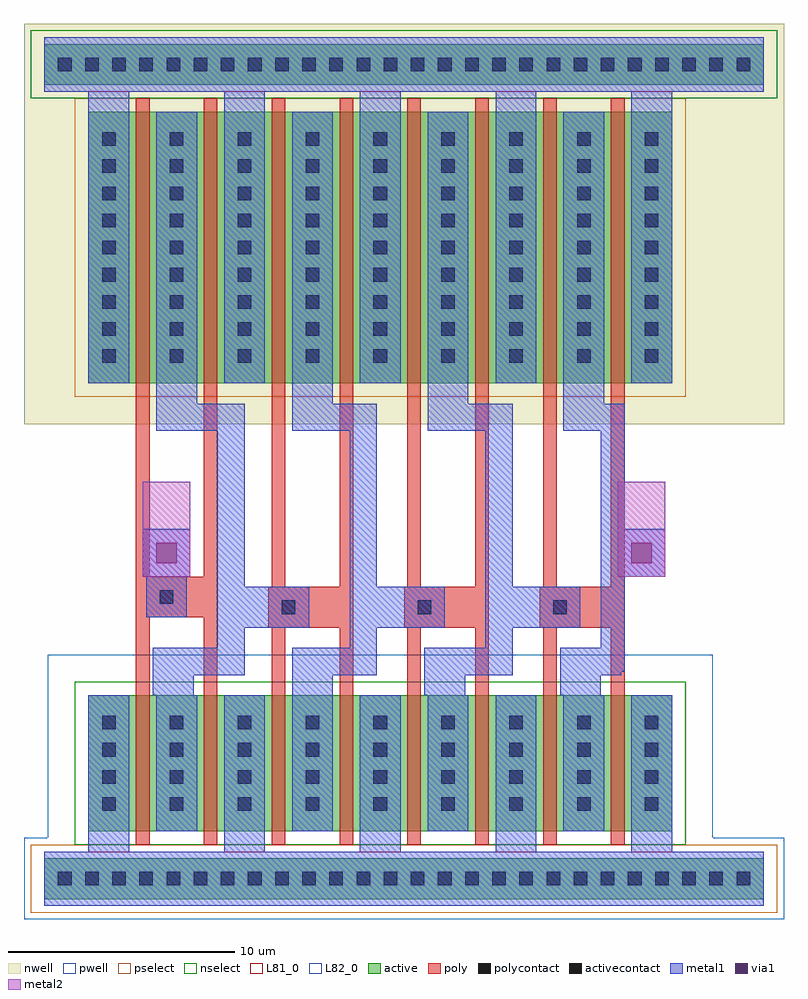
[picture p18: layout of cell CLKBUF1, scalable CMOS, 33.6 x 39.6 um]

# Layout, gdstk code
import gdstk
lib = gdstk.Library(unit=1e-6, precision=1e-09)
def R(c, l, rs):  # rectangles x0, y0, x1, y1
    for r in rs: c.add(gdstk.rectangle(r[:2], r[2:], *l))
def A(c, l, x, y, w, h, nx, ny, dx, dy):  # array of equal rectangles
    R(c, l, [(x+i*dx, y+j*dy, x+i*dx+w, y+j*dy+h) for i in range(nx) for j in range(ny)])
pwell = (41, 0)
nwell = (42, 0)
active = (43, 0)
pselect = (44, 0)
nselect = (45, 0)
poly = (46, 0)
polycontact = (47, 0)
activecontact = (48, 0)
metal1 = (49, 0)
via1 = (50, 0)
metal2 = (51, 0)
L81_0 = (81, 0)
L82_0 = (82, 0)

clkbuf1 = lib.new_cell('CLKBUF1')
R(clkbuf1, pwell, [(-1.8,-1.8,31.8,1.8), (-0.75,1.8,28.65,9.9)])
R(clkbuf1, nwell, [(-1.8,20.1,31.8,37.8)])
R(clkbuf1, active, [(-0.9,-0.9,30.9,0.9), (1.05,2.1,26.85,8.1), (1.05,21.9,26.85,33.9), (-0.9,35.1,30.9,36.9)])
R(clkbuf1, pselect, [(-1.5,-1.5,31.5,1.5), (0.45,21.3,27.45,34.5)])
R(clkbuf1, nselect, [(0.45,1.5,27.45,8.7), (-1.5,34.5,31.5,37.5)])
A(clkbuf1, poly, 9.15, 1.5, 0.6, 9.6, 6, 1, 3, 0)
A(clkbuf1, poly, 9, 11.1, 3.75, 1.8, 3, 1, 6, 0)
A(clkbuf1, poly, 9.15, 12.9, 0.6, 21.6, 6, 1, 3, 0)
R(clkbuf1, poly, [(3.15,1.5,3.75,11.55), (6.15,1.5,6.75,11.55), (3.15,11.55,6.75,13.35), (3.15,13.35,3.75,34.5), (6.15,13.35,6.75,34.5)])
A(clkbuf1, polycontact, 9.6, 11.7, 0.6, 0.6, 3, 1, 6, 0)
R(clkbuf1, polycontact, [(4.2,12.15,4.8,12.75)])
A(clkbuf1, activecontact, -0.3, -0.3, 0.6, 0.6, 26, 2, 1.2, 36)
A(clkbuf1, activecontact, 1.65, 3, 0.6, 0.6, 9, 4, 3, 1.2)
A(clkbuf1, activecontact, 1.65, 22.8, 0.6, 0.6, 9, 9, 3, 1.2)
A(clkbuf1, metal1, 1.05, 1.2, 1.8, 6.9, 5, 1, 6, 0)
A(clkbuf1, metal1, 4.05, 21, 1.8, 12.9, 4, 1, 6, 0)
A(clkbuf1, metal1, 1.05, 21.9, 1.8, 12.9, 5, 1, 6, 0)
R(clkbuf1, metal1, [(-0.9,-1.2,30.9,1.2), (4.05,2.1,5.85,8.1), (10.05,2.1,11.85,9), (16.05,2.1,17.85,8.1), (22.05,2.1,23.85,8.1), (3.9,8.1,5.7,9), (15.9,8.1,17.7,9), (21.9,8.1,23.7,9), (3.9,9,7.95,10.2), (10.05,9,13.8,10.2), (15.9,9,19.8,10.2), (21.9,9,24.6,9.15), (21.9,9.15,24.75,10.2), (6.75,10.2,7.95,11.1), (12.6,10.2,13.8,11.1), (18.6,10.2,19.8,11.1), (23.7,10.2,24.75,13.35), (6.75,11.1,10.8,12.9), (12.6,11.1,16.8,12.9), (18.6,11.1,22.8,12.9), (3.6,11.55,5.4,13.35), (6.75,12.9,7.95,19.8), (12.6,12.9,13.8,19.8), (18.6,12.9,19.8,19.8), (3.45,13.35,5.55,15.45), (23.7,13.35,26.55,15.45), (23.7,15.45,24.75,19.8), (4.05,19.8,7.95,21), (10.05,19.8,13.8,21), (16.05,19.8,19.8,21), (22.05,19.8,24.75,21), (-0.9,34.8,30.9,37.2)])
R(clkbuf1, via1, [(4.05,13.95,4.95,14.85), (25.05,13.95,25.95,14.85)])
R(clkbuf1, metal2, [(3.45,13.35,5.55,17.55), (24.45,13.35,26.55,17.55)])
R(clkbuf1, L81_0, [(-0.9,-1.2,30.9,1.2), (-0.9,34.8,30.9,37.2)])
R(clkbuf1, L82_0, [(3.45,15.45,5.55,17.55), (24.45,15.45,26.55,17.55)])

lib.write_gds('CLKBUF1.gds')
